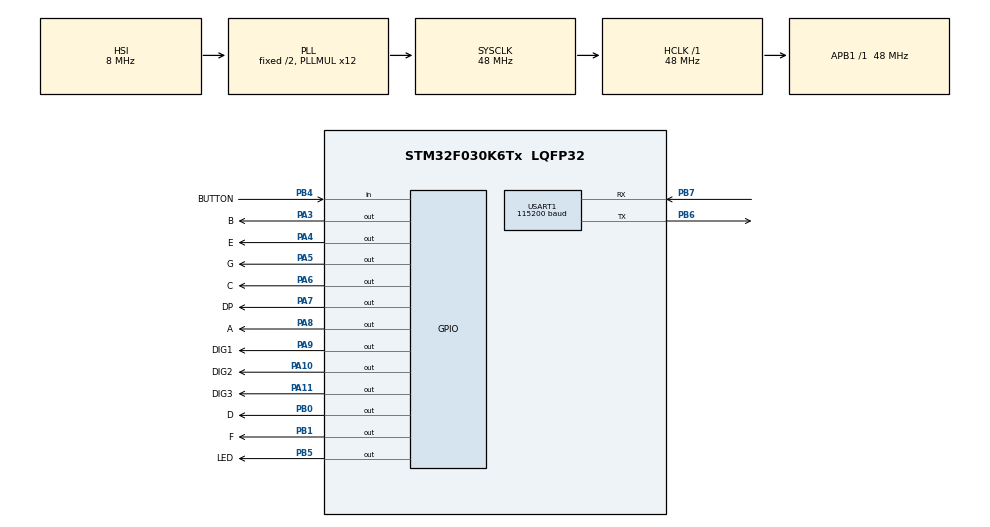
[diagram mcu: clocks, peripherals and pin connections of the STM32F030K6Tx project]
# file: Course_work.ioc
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Mcu.Family=STM32F0
Mcu.Name=STM32F030K6Tx
Mcu.Package=LQFP32
NVIC.TIM1_BRK_UP_TRG_COM_IRQn=true\:0\:0\:false\:false\:true\:true\:true
NVIC.TIM1_CC_IRQn=true\:0\:0\:false\:false\:true\:true\:true
NVIC.TIM3_IRQn=true\:0\:0\:false\:false\:true\:true\:true
PA10.GPIO_Label=DIG2
PA10.Signal=GPIO_Output
PA11.GPIO_Label=DIG3
PA11.Signal=GPIO_Output
PA13.Mode=Serial_Wire
PA13.Signal=SYS_SWDIO
PA14.Mode=Serial_Wire
PA14.Signal=SYS_SWCLK
PA3.GPIO_Label=B
PA3.Signal=GPIO_Output
PA4.GPIO_Label=E
PA4.Signal=GPIO_Output
PA5.GPIO_Label=G
PA5.Signal=GPIO_Output
PA6.GPIO_Label=C
PA6.Signal=GPIO_Output
PA7.GPIO_Label=DP
PA7.Signal=GPIO_Output
PA8.GPIO_Label=A
PA8.Signal=GPIO_Output
PA9.GPIO_Label=DIG1
PA9.Signal=GPIO_Output
PB0.GPIO_Label=D
PB0.Signal=GPIO_Output
PB1.GPIO_Label=F
PB1.Signal=GPIO_Output
PB4.GPIO_Label=BUTTON
PB4.Signal=GPIO_Input
PB5.GPIO_Label=LED
PB5.Signal=GPIO_Output
PB6.Mode=Asynchronous
PB6.Signal=USART1_TX
PB7.Mode=Asynchronous
PB7.Signal=USART1_RX
ProjectManager.HeapSize=0x200
ProjectManager.StackSize=0x400
ProjectManager.TargetToolchain=STM32CubeIDE
RCC.AHBFreq_Value=48000000
RCC.APB1Freq_Value=48000000
RCC.APB1TimFreq_Value=48000000
RCC.HCLKFreq_Value=48000000
RCC.PLLMUL=RCC_PLL_MUL12
RCC.SYSCLKFreq_VALUE=48000000
RCC.SYSCLKSource=RCC_SYSCLKSOURCE_PLLCLK
TIM1.Period=1000-1
TIM1.Prescaler=48000-1
TIM3.Period=400-1
TIM3.Prescaler=48000-1
USART1.BaudRate=115200
USART1.VirtualMode-Asynchronous=VM_ASYNC
VP_TIM1_VS_ClockSourceINT.Mode=Internal
VP_TIM3_VS_ClockSourceINT.Mode=Internal
board=custom

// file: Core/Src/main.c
/* USER CODE BEGIN Header */
/**
 ******************************************************************************
 * @file           : main.c
 * @brief          : Main program body
 ******************************************************************************
 * @attention
 *
 * Copyright (c) 2022 STMicroelectronics.
 * All rights reserved.
 *
 * This software is licensed under terms that can be found in the LICENSE file
 * in the root directory of this software component.
 * If no LICENSE file comes with this software, it is provided AS-IS.
 *
 ******************************************************************************
 */
/* USER CODE END Header */
#include "main.h"

/* USER CODE BEGIN Includes */
#include "counter.h"
#include "led.h"
/* USER CODE END Includes */

TIM_HandleTypeDef htim1;
TIM_HandleTypeDef htim3;

UART_HandleTypeDef huart1;

/* USER CODE BEGIN PV */
int16_t button_push_count = 0;
/* USER CODE END PV */

void SystemClock_Config(void);
static void MX_GPIO_Init(void);
static void MX_TIM1_Init(void);
static void MX_TIM3_Init(void);
static void MX_USART1_UART_Init(void);

/* USER CODE BEGIN 0 */
int __io_putchar(int ch) {
	HAL_UART_Transmit(&huart1, (uint8_t*) &ch, 1, 0xFFFF);
	return 0;
}

void HAL_TIM_PeriodElapsedCallback(TIM_HandleTypeDef *htim) {
	if (htim->Instance == TIM1) {
		if (get_flag() == COUNTER_WORK) {
//			printf("%d\r\n", get_counter());
			increase_counter();
		}
	} else if (htim->Instance == TIM3) {
		if (button_push_count == 1) {
			change_flag();
			if (get_flag() == COUNTER_STOP) {
				printf("Timer pause: %d\r\n", get_counter());
			}
		} else if (button_push_count > 1) {
			printf("Timer stop: %d\r\n", get_counter());
			set_flag(COUNTER_STOP);
			reinit_counter();
		}
		button_push_count = 0;
		HAL_TIM_Base_Stop(&htim3);
	}
}
/* USER CODE END 0 */

int main(void) {

	/* MCU Configuration--------------------------------------------------------*/

	/* Reset of all peripherals, Initializes the Flash interface and the Systick. */
	HAL_Init();

	/* USER CODE BEGIN Init */
	init_counter();
	/* USER CODE END Init */

	/* Configure the system clock */
	SystemClock_Config();

	/* Initialize all configured peripherals */
	MX_GPIO_Init();
	MX_TIM1_Init();
	MX_TIM3_Init();
	MX_USART1_UART_Init();
	/* USER CODE BEGIN 2 */
	HAL_TIM_Base_Start_IT(&htim1);

	int16_t button_reset = 0;
	/* USER CODE END 2 */

	/* Infinite loop */
	/* USER CODE BEGIN WHILE */
	while (1) {
		HAL_GPIO_WritePin(LED_GPIO_Port, LED_Pin, GPIO_PIN_SET);
		set_number(get_counter());
		int button = HAL_GPIO_ReadPin(BUTTON_GPIO_Port, BUTTON_Pin);

		if (button == GPIO_PIN_RESET && button_reset == 0) {
			if (button_push_count == 0) {
				HAL_TIM_Base_Start_IT(&htim3);
			}
			button_reset = 1;
			button_push_count += 1;
		} else if (button == GPIO_PIN_SET) {
			button_reset = 0;
		}
		/* USER CODE END WHILE */

	}
}

void SystemClock_Config(void) { //
	RCC_OscInitTypeDef RCC_OscInitStruct = { 0 };
	RCC_ClkInitTypeDef RCC_ClkInitStruct = { 0 };
	RCC_PeriphCLKInitTypeDef PeriphClkInit = { 0 };

	/** Initializes the RCC Oscillators according to the specified parameters
	 * in the RCC_OscInitTypeDef structure.
	 */
	RCC_OscInitStruct.OscillatorType = RCC_OSCILLATORTYPE_HSI;
	RCC_OscInitStruct.HSIState = RCC_HSI_ON;
	RCC_OscInitStruct.HSICalibrationValue = RCC_HSICALIBRATION_DEFAULT;
	RCC_OscInitStruct.PLL.PLLState = RCC_PLL_ON;
	RCC_OscInitStruct.PLL.PLLSource = RCC_PLLSOURCE_HSI;
	RCC_OscInitStruct.PLL.PLLMUL = RCC_PLL_MUL12;
	RCC_OscInitStruct.PLL.PREDIV = RCC_PREDIV_DIV1;
	if (HAL_RCC_OscConfig(&RCC_OscInitStruct) != HAL_OK) {
		Error_Handler();
	}
	/** Initializes the CPU, AHB and APB buses clocks
	 */
	RCC_ClkInitStruct.ClockType = RCC_CLOCKTYPE_HCLK | RCC_CLOCKTYPE_SYSCLK
			| RCC_CLOCKTYPE_PCLK1;
	RCC_ClkInitStruct.SYSCLKSource = RCC_SYSCLKSOURCE_PLLCLK;
	RCC_ClkInitStruct.AHBCLKDivider = RCC_SYSCLK_DIV1;
	RCC_ClkInitStruct.APB1CLKDivider = RCC_HCLK_DIV1;

	if (HAL_RCC_ClockConfig(&RCC_ClkInitStruct, FLASH_LATENCY_1) != HAL_OK) {
		Error_Handler();
	}
	PeriphClkInit.PeriphClockSelection = RCC_PERIPHCLK_USART1;
	PeriphClkInit.Usart1ClockSelection = RCC_USART1CLKSOURCE_PCLK1;
	if (HAL_RCCEx_PeriphCLKConfig(&PeriphClkInit) != HAL_OK) {
		Error_Handler();
	}
}

static void MX_TIM1_Init(void) {

	TIM_ClockConfigTypeDef sClockSourceConfig = { 0 };
	TIM_MasterConfigTypeDef sMasterConfig = { 0 };

	htim1.Instance = TIM1;
	htim1.Init.Prescaler = 48000 - 1;
	htim1.Init.CounterMode = TIM_COUNTERMODE_UP;
	htim1.Init.Period = 1000 - 1;
	htim1.Init.ClockDivision = TIM_CLOCKDIVISION_DIV1;
	htim1.Init.RepetitionCounter = 0;
	htim1.Init.AutoReloadPreload = TIM_AUTORELOAD_PRELOAD_DISABLE;
	if (HAL_TIM_Base_Init(&htim1) != HAL_OK) {
		Error_Handler();
	}
	sClockSourceConfig.ClockSource = TIM_CLOCKSOURCE_INTERNAL;
	if (HAL_TIM_ConfigClockSource(&htim1, &sClockSourceConfig) != HAL_OK) {
		Error_Handler();
	}
	sMasterConfig.MasterOutputTrigger = TIM_TRGO_RESET;
	sMasterConfig.MasterSlaveMode = TIM_MASTERSLAVEMODE_DISABLE;
	if (HAL_TIMEx_MasterConfigSynchronization(&htim1, &sMasterConfig)
			!= HAL_OK) {
		Error_Handler();
	}

}

static void MX_TIM3_Init(void) {

	TIM_ClockConfigTypeDef sClockSourceConfig = { 0 };
	TIM_MasterConfigTypeDef sMasterConfig = { 0 };

	htim3.Instance = TIM3;
	htim3.Init.Prescaler = 48000 - 1;
	htim3.Init.CounterMode = TIM_COUNTERMODE_UP;
	htim3.Init.Period = 400 - 1;
	htim3.Init.ClockDivision = TIM_CLOCKDIVISION_DIV1;
	htim3.Init.AutoReloadPreload = TIM_AUTORELOAD_PRELOAD_DISABLE;
	if (HAL_TIM_Base_Init(&htim3) != HAL_OK) {
		Error_Handler();
	}
	sClockSourceConfig.ClockSource = TIM_CLOCKSOURCE_INTERNAL;
	if (HAL_TIM_ConfigClockSource(&htim3, &sClockSourceConfig) != HAL_OK) {
		Error_Handler();
	}
	sMasterConfig.MasterOutputTrigger = TIM_TRGO_RESET;
	sMasterConfig.MasterSlaveMode = TIM_MASTERSLAVEMODE_DISABLE;
	if (HAL_TIMEx_MasterConfigSynchronization(&htim3, &sMasterConfig)
			!= HAL_OK) {
		Error_Handler();
	}

}

static void MX_USART1_UART_Init(void) {

	huart1.Instance = USART1;
	huart1.Init.BaudRate = 115200; // скорость передачи
	huart1.Init.WordLength = UART_WORDLENGTH_8B;
	huart1.Init.StopBits = UART_STOPBITS_1;
	huart1.Init.Parity = UART_PARITY_NONE;
	huart1.Init.Mode = UART_MODE_TX_RX;
	huart1.Init.HwFlowCtl = UART_HWCONTROL_NONE;
	huart1.Init.OverSampling = UART_OVERSAMPLING_16;
	huart1.Init.OneBitSampling = UART_ONE_BIT_SAMPLE_DISABLE;
	huart1.AdvancedInit.AdvFeatureInit = UART_ADVFEATURE_NO_INIT;
	if (HAL_UART_Init(&huart1) != HAL_OK) {
		Error_Handler();
	}

}

static void MX_GPIO_Init(void) {
	GPIO_InitTypeDef GPIO_InitStruct = { 0 };

	/* GPIO Ports Clock Enable */
	__HAL_RCC_GPIOA_CLK_ENABLE();
	__HAL_RCC_GPIOB_CLK_ENABLE();

	/*Configure GPIO pin Output Level */
	HAL_GPIO_WritePin(GPIOA,
			B_Pin | E_Pin | G_Pin | C_Pin | DP_Pin | A_Pin | DIG1_Pin | DIG2_Pin
					| DIG3_Pin, GPIO_PIN_RESET);

	/*Configure GPIO pin Output Level */
	HAL_GPIO_WritePin(GPIOB, D_Pin | F_Pin | LED_Pin, GPIO_PIN_RESET);

	/*Configure GPIO pins : B_Pin E_Pin G_Pin C_Pin
	 DP_Pin A_Pin DIG1_Pin DIG2_Pin
	 DIG3_Pin */
	GPIO_InitStruct.Pin = B_Pin | E_Pin | G_Pin | C_Pin | DP_Pin | A_Pin
			| DIG1_Pin | DIG2_Pin | DIG3_Pin;
	GPIO_InitStruct.Mode = GPIO_MODE_OUTPUT_PP;
	GPIO_InitStruct.Pull = GPIO_NOPULL;
	GPIO_InitStruct.Speed = GPIO_SPEED_FREQ_LOW;
	HAL_GPIO_Init(GPIOA, &GPIO_InitStruct);

	/*Configure GPIO pins : D_Pin F_Pin LED_Pin */
	GPIO_InitStruct.Pin = D_Pin | F_Pin | LED_Pin;
	GPIO_InitStruct.Mode = GPIO_MODE_OUTPUT_PP;
	GPIO_InitStruct.Pull = GPIO_NOPULL;
	GPIO_InitStruct.Speed = GPIO_SPEED_FREQ_LOW;
	HAL_GPIO_Init(GPIOB, &GPIO_InitStruct);

	/*Configure GPIO pin : BUTTON_Pin */
	GPIO_InitStruct.Pin = BUTTON_Pin;
	GPIO_InitStruct.Mode = GPIO_MODE_INPUT;
	GPIO_InitStruct.Pull = GPIO_PULLUP;
	HAL_GPIO_Init(BUTTON_GPIO_Port, &GPIO_InitStruct);

}

void Error_Handler(void) {
	__disable_irq();
	while (1) {
	}
}
